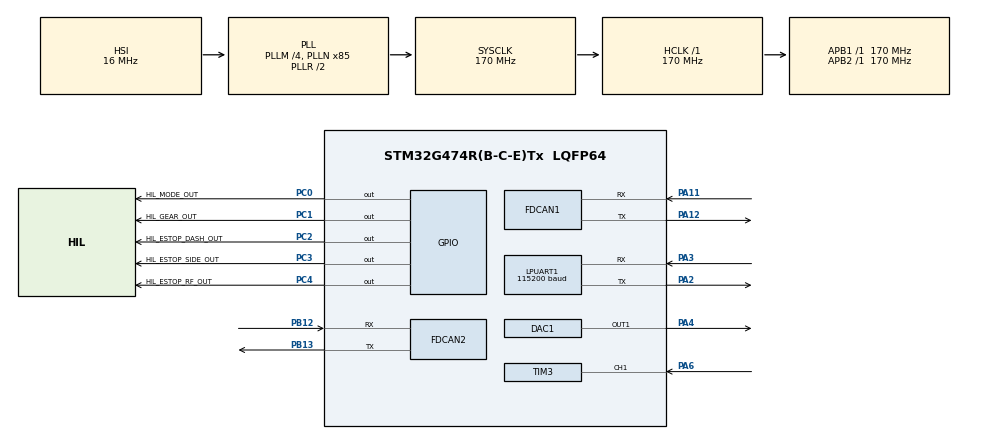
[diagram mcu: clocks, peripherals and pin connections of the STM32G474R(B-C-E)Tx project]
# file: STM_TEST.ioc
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Dma.LPUART1_RX.0.Direction=DMA_PERIPH_TO_MEMORY
Dma.LPUART1_RX.0.EventEnable=DISABLE
Dma.LPUART1_RX.0.Instance=DMA1_Channel1
Dma.LPUART1_RX.0.MemDataAlignment=DMA_MDATAALIGN_BYTE
Dma.LPUART1_RX.0.MemInc=DMA_MINC_ENABLE
Dma.LPUART1_RX.0.Mode=DMA_NORMAL
Dma.LPUART1_RX.0.PeriphDataAlignment=DMA_PDATAALIGN_BYTE
Dma.LPUART1_RX.0.PeriphInc=DMA_PINC_DISABLE
Dma.LPUART1_RX.0.Polarity=HAL_DMAMUX_REQ_GEN_RISING
Dma.LPUART1_RX.0.Priority=DMA_PRIORITY_MEDIUM
Dma.LPUART1_RX.0.RequestNumber=1
Dma.LPUART1_RX.0.SignalID=NONE
Dma.LPUART1_RX.0.SyncEnable=DISABLE
Dma.LPUART1_RX.0.SyncPolarity=HAL_DMAMUX_SYNC_NO_EVENT
Dma.LPUART1_RX.0.SyncRequestNumber=1
Dma.LPUART1_RX.0.SyncSignalID=NONE
Dma.Request0=LPUART1_RX
FDCAN1.AutoRetransmission=ENABLE
FDCAN1.CalculateBaudRateNominal=250000
FDCAN1.CalculateTimeBitNominal=4000
FDCAN1.CalculateTimeQuantumNominal=100.0
FDCAN1.ExtFiltersNbr=4
FDCAN1.NominalPrescaler=17
FDCAN1.NominalSyncJumpWidth=5
FDCAN1.NominalTimeSeg1=34
FDCAN1.NominalTimeSeg2=5
FDCAN2.AutoRetransmission=ENABLE
FDCAN2.CalculateBaudRateNominal=250000
FDCAN2.CalculateTimeBitNominal=4000
FDCAN2.CalculateTimeQuantumNominal=100.0
FDCAN2.DataSyncJumpWidth=5
FDCAN2.ExtFiltersNbr=4
FDCAN2.NominalPrescaler=17
FDCAN2.NominalSyncJumpWidth=5
FDCAN2.NominalTimeSeg1=34
FDCAN2.NominalTimeSeg2=5
FREERTOS.Mutexes01=HilStateMutex,Dynamic,NULL,Available
FREERTOS.Tasks01=HostCommand,24,512,StartHostCommand,Default,NULL,Dynamic,NULL,NULL;VehicleIO,24,256,StartVehicleIO,Default,NULL,Dynamic,NULL,NULL;EZKontrol,32,512,StartEZKontrol,Default,NULL,Dynamic,NULL,NULL;KEYA,32,512,StartKEYA,Default,NULL,Dynamic,NULL,NULL;Monitor,16,256,StartMonitor,Default,NULL,Dynamic,NULL,NULL
FREERTOS.configENABLE_FPU=1
FREERTOS.configTOTAL_HEAP_SIZE=16384
LPUART1.BaudRate=115200
Mcu.Family=STM32G4
Mcu.Name=STM32G474R(B-C-E)Tx
Mcu.Package=LQFP64
NUCLEO-G474RE.VCP=false
NVIC.DMA1_Channel1_IRQn=true\:7\:0\:true\:false\:true\:true\:false\:true\:true
NVIC.FDCAN1_IT0_IRQn=true\:6\:0\:true\:false\:true\:true\:true\:true\:true
NVIC.FDCAN2_IT0_IRQn=true\:6\:0\:true\:false\:true\:true\:true\:true\:true
NVIC.LPUART1_IRQn=true\:7\:0\:true\:false\:true\:true\:true\:true\:true
NVIC.PriorityGroup=NVIC_PRIORITYGROUP_4
NVIC.TIM3_IRQn=true\:7\:0\:true\:false\:true\:true\:true\:true\:true
NVIC.TIM6_DAC_IRQn=true\:15\:0\:false\:false\:true\:false\:false\:true\:true
NVIC.TimeBase=TIM6_DAC_IRQn
NVIC.TimeBaseIP=TIM6
PA11.Mode=FDCAN_Activate
PA11.Signal=FDCAN1_RX
PA12.Mode=FDCAN_Activate
PA12.Signal=FDCAN1_TX
PA13.GPIO_Label=T_SWDIO
PA13.Mode=Serial_Wire
PA13.Signal=SYS_JTMS-SWDIO
PA14.GPIO_Label=T_SWCLK
PA14.Mode=Serial_Wire
PA14.Signal=SYS_JTCK-SWCLK
PA2.Mode=Asynchronous
PA2.Signal=LPUART1_TX
PA3.Mode=Asynchronous
PA3.Signal=LPUART1_RX
PA4.Signal=COMP_DAC11_group
PA6.Signal=S_TIM3_CH1
PB12.Mode=FDCAN_Activate
PB12.Signal=FDCAN2_RX
PB13.Mode=FDCAN_Activate
PB13.Signal=FDCAN2_TX
PB3.GPIO_Label=T_SWO
PB3.Signal=SYS_JTDO-SWO
PC0.GPIO_Label=HIL_MODE_OUT
PC0.PinState=GPIO_PIN_SET
PC0.Signal=GPIO_Output
PC1.GPIO_Label=HIL_GEAR_OUT
PC1.PinState=GPIO_PIN_SET
PC1.Signal=GPIO_Output
PC14-OSC32_IN.GPIO_Label=RCC_OSC32_IN
PC14-OSC32_IN.Signal=RCC_OSC32_IN
PC15-OSC32_OUT.GPIO_Label=RCC_OSC32_OUT
PC15-OSC32_OUT.Signal=RCC_OSC32_OUT
PC2.GPIO_Label=HIL_ESTOP_DASH_OUT
PC2.PinState=GPIO_PIN_SET
PC2.Signal=GPIO_Output
PC3.GPIO_Label=HIL_ESTOP_SIDE_OUT
PC3.PinState=GPIO_PIN_SET
PC3.Signal=GPIO_Output
PC4.GPIO_Label=HIL_ESTOP_RF_OUT
PC4.PinState=GPIO_PIN_SET
PC4.Signal=GPIO_Output
PF0-OSC_IN.GPIO_Label=RCC_OSC_IN
PF0-OSC_IN.Mode=HSE-External-Oscillator
PF0-OSC_IN.Signal=RCC_OSC_IN
PF1-OSC_OUT.GPIO_Label=RCC_OSC_OUT
PF1-OSC_OUT.Mode=HSE-External-Oscillator
PF1-OSC_OUT.Signal=RCC_OSC_OUT
ProjectManager.HeapSize=0x200
ProjectManager.StackSize=0x400
ProjectManager.TargetToolchain=CMake
RCC.ADC12Freq_Value=170000000
RCC.ADC345Freq_Value=170000000
RCC.AHBFreq_Value=170000000
RCC.APB1Freq_Value=170000000
RCC.APB1TimFreq_Value=170000000
RCC.APB2Freq_Value=170000000
RCC.APB2TimFreq_Value=170000000
RCC.CortexFreq_Value=170000000
RCC.EXTERNAL_CLOCK_VALUE=12288000
RCC.HCLKFreq_Value=170000000
RCC.HSE_VALUE=24000000
RCC.HSI48_VALUE=48000000
RCC.HSI_VALUE=16000000
RCC.LSE_VALUE=32768
RCC.PLLM=RCC_PLLM_DIV4
RCC.PLLN=85
RCC.RTCClockSelection=RCC_RTCCLKSOURCE_LSE
RCC.SYSCLKFreq_VALUE=170000000
RCC.SYSCLKSource=RCC_SYSCLKSOURCE_PLLCLK
RCC.USBFreq_Value=170000000
RCC.VCOOutputFreq_Value=340000000
SH.COMP_DAC11_group.0=DAC1_OUT1,DAC_OUT1
SH.S_TIM3_CH1.0=TIM3_CH1,PWM_Input_1
TIM3.Prescaler=169
VP_FREERTOS_VS_CMSIS_V2.Mode=CMSIS_V2
VP_NUCLEO-G474RE_VS_BSP_COMMON.Mode=COMMON
VP_SYS_VS_DBSignals.Mode=DisableDeadBatterySignals
VP_SYS_VS_tim6.Mode=TIM6
VP_TIM3_VS_ClockSourceINT.Mode=Internal
board=NUCLEO-G474RE

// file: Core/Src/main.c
/* USER CODE BEGIN Header */
/**
  ******************************************************************************
  * @file           : main.c
  * @brief          : Main program body
  ******************************************************************************
  * @attention
  *
  * Copyright (c) 2026 STMicroelectronics.
  * All rights reserved.
  *
  * This software is licensed under terms that can be found in the LICENSE file
  * in the root directory of this software component.
  * If no LICENSE file comes with this software, it is provided AS-IS.
  *
  ******************************************************************************
  */
/* USER CODE END Header */
#include "main.h"
#include "cmsis_os.h"

/* USER CODE BEGIN Includes */
#include "hil_command.h"
#include "hil_ezkontrol.h"
#include "hil_keya.h"
#include "hil_monitor.h"
#include "hil_state.h"
#include "hil_vehicle_io.h"
/* USER CODE END Includes */

DAC_HandleTypeDef hdac1;

FDCAN_HandleTypeDef hfdcan1;
FDCAN_HandleTypeDef hfdcan2;

UART_HandleTypeDef hlpuart1;
DMA_HandleTypeDef hdma_lpuart1_rx;

TIM_HandleTypeDef htim3;

/* Definitions for HostCommand */
osThreadId_t HostCommandHandle;
const osThreadAttr_t HostCommand_attributes = {
  .name = "HostCommand",
  .priority = (osPriority_t) osPriorityNormal,
  .stack_size = 512 * 4
};
/* Definitions for VehicleIO */
osThreadId_t VehicleIOHandle;
const osThreadAttr_t VehicleIO_attributes = {
  .name = "VehicleIO",
  .priority = (osPriority_t) osPriorityNormal,
  .stack_size = 256 * 4
};
/* Definitions for EZKontrol */
osThreadId_t EZKontrolHandle;
const osThreadAttr_t EZKontrol_attributes = {
  .name = "EZKontrol",
  .priority = (osPriority_t) osPriorityAboveNormal,
  .stack_size = 512 * 4
};
/* Definitions for KEYA */
osThreadId_t KEYAHandle;
const osThreadAttr_t KEYA_attributes = {
  .name = "KEYA",
  .priority = (osPriority_t) osPriorityAboveNormal,
  .stack_size = 512 * 4
};
/* Definitions for Monitor */
osThreadId_t MonitorHandle;
const osThreadAttr_t Monitor_attributes = {
  .name = "Monitor",
  .priority = (osPriority_t) osPriorityBelowNormal,
  .stack_size = 256 * 4
};
/* Definitions for HilStateMutex */
osMutexId_t HilStateMutexHandle;
const osMutexAttr_t HilStateMutex_attributes = {
  .name = "HilStateMutex"
};

void SystemClock_Config(void);
static void MX_GPIO_Init(void);
static void MX_DMA_Init(void);
static void MX_FDCAN1_Init(void);
static void MX_FDCAN2_Init(void);
static void MX_DAC1_Init(void);
static void MX_LPUART1_UART_Init(void);
static void MX_TIM3_Init(void);
void StartHostCommand(void *argument);
void StartVehicleIO(void *argument);
void StartEZKontrol(void *argument);
void StartKEYA(void *argument);
void StartMonitor(void *argument);

int main(void)
{

  /* MCU Configuration--------------------------------------------------------*/

  /* Reset of all peripherals, Initializes the Flash interface and the Systick. */
  HAL_Init();

  /* Configure the system clock */
  SystemClock_Config();

  /* Initialize all configured peripherals */
  MX_GPIO_Init();
  MX_DMA_Init();
  MX_FDCAN1_Init();
  MX_FDCAN2_Init();
  MX_DAC1_Init();
  MX_LPUART1_UART_Init();
  MX_TIM3_Init();

  /* Init scheduler */
  osKernelInitialize();
  /* Create the mutex(es) */
  /* creation of HilStateMutex */
  HilStateMutexHandle = osMutexNew(&HilStateMutex_attributes);

  /* USER CODE BEGIN RTOS_MUTEX */
  HilState_Init();
  HilVehicleIO_Init();
  HilMonitor_Init();
  HilEZKontrol_Init();
  HilKEYA_Init();
  HilCommand_Init();
  /* USER CODE END RTOS_MUTEX */

  /* Create the thread(s) */
  /* creation of HostCommand */
  HostCommandHandle = osThreadNew(StartHostCommand, NULL, &HostCommand_attributes);

  /* creation of VehicleIO */
  VehicleIOHandle = osThreadNew(StartVehicleIO, NULL, &VehicleIO_attributes);

  /* creation of EZKontrol */
  EZKontrolHandle = osThreadNew(StartEZKontrol, NULL, &EZKontrol_attributes);

  /* creation of KEYA */
  KEYAHandle = osThreadNew(StartKEYA, NULL, &KEYA_attributes);

  /* creation of Monitor */
  MonitorHandle = osThreadNew(StartMonitor, NULL, &Monitor_attributes);

  /* Start scheduler */
  osKernelStart();

  /* We should never get here as control is now taken by the scheduler */

  /* Infinite loop */
  while (1)
  {

  }
}

void SystemClock_Config(void)
{
  RCC_OscInitTypeDef RCC_OscInitStruct = {0};
  RCC_ClkInitTypeDef RCC_ClkInitStruct = {0};

  /** Configure the main internal regulator output voltage
  */
  HAL_PWREx_ControlVoltageScaling(PWR_REGULATOR_VOLTAGE_SCALE1_BOOST);

  /** Initializes the RCC Oscillators according to the specified parameters
  * in the RCC_OscInitTypeDef structure.
  */
  RCC_OscInitStruct.OscillatorType = RCC_OSCILLATORTYPE_HSI;
  RCC_OscInitStruct.HSIState = RCC_HSI_ON;
  RCC_OscInitStruct.HSICalibrationValue = RCC_HSICALIBRATION_DEFAULT;
  RCC_OscInitStruct.PLL.PLLState = RCC_PLL_ON;
  RCC_OscInitStruct.PLL.PLLSource = RCC_PLLSOURCE_HSI;
  RCC_OscInitStruct.PLL.PLLM = RCC_PLLM_DIV4;
  RCC_OscInitStruct.PLL.PLLN = 85;
  RCC_OscInitStruct.PLL.PLLP = RCC_PLLP_DIV2;
  RCC_OscInitStruct.PLL.PLLQ = RCC_PLLQ_DIV2;
  RCC_OscInitStruct.PLL.PLLR = RCC_PLLR_DIV2;
  if (HAL_RCC_OscConfig(&RCC_OscInitStruct) != HAL_OK)
  {
    Error_Handler();
  }

  /** Initializes the CPU, AHB and APB buses clocks
  */
  RCC_ClkInitStruct.ClockType = RCC_CLOCKTYPE_HCLK|RCC_CLOCKTYPE_SYSCLK
                              |RCC_CLOCKTYPE_PCLK1|RCC_CLOCKTYPE_PCLK2;
  RCC_ClkInitStruct.SYSCLKSource = RCC_SYSCLKSOURCE_PLLCLK;
  RCC_ClkInitStruct.AHBCLKDivider = RCC_SYSCLK_DIV1;
  RCC_ClkInitStruct.APB1CLKDivider = RCC_HCLK_DIV1;
  RCC_ClkInitStruct.APB2CLKDivider = RCC_HCLK_DIV1;

  if (HAL_RCC_ClockConfig(&RCC_ClkInitStruct, FLASH_LATENCY_4) != HAL_OK)
  {
    Error_Handler();
  }
}

static void MX_DAC1_Init(void)
{

  DAC_ChannelConfTypeDef sConfig = {0};

  /** DAC Initialization
  */
  hdac1.Instance = DAC1;
  if (HAL_DAC_Init(&hdac1) != HAL_OK)
  {
    Error_Handler();
  }

  /** DAC channel OUT1 config
  */
  sConfig.DAC_HighFrequency = DAC_HIGH_FREQUENCY_INTERFACE_MODE_AUTOMATIC;
  sConfig.DAC_DMADoubleDataMode = DISABLE;
  sConfig.DAC_SignedFormat = DISABLE;
  sConfig.DAC_SampleAndHold = DAC_SAMPLEANDHOLD_DISABLE;
  sConfig.DAC_Trigger = DAC_TRIGGER_NONE;
  sConfig.DAC_Trigger2 = DAC_TRIGGER_NONE;
  sConfig.DAC_OutputBuffer = DAC_OUTPUTBUFFER_ENABLE;
  sConfig.DAC_ConnectOnChipPeripheral = DAC_CHIPCONNECT_EXTERNAL;
  sConfig.DAC_UserTrimming = DAC_TRIMMING_FACTORY;
  if (HAL_DAC_ConfigChannel(&hdac1, &sConfig, DAC_CHANNEL_1) != HAL_OK)
  {
    Error_Handler();
  }

}

static void MX_FDCAN1_Init(void)
{

  hfdcan1.Instance = FDCAN1;
  hfdcan1.Init.ClockDivider = FDCAN_CLOCK_DIV1;
  hfdcan1.Init.FrameFormat = FDCAN_FRAME_CLASSIC;
  hfdcan1.Init.Mode = FDCAN_MODE_NORMAL;
  hfdcan1.Init.AutoRetransmission = ENABLE;
  hfdcan1.Init.TransmitPause = DISABLE;
  hfdcan1.Init.ProtocolException = DISABLE;
  hfdcan1.Init.NominalPrescaler = 17;
  hfdcan1.Init.NominalSyncJumpWidth = 5;
  hfdcan1.Init.NominalTimeSeg1 = 34;
  hfdcan1.Init.NominalTimeSeg2 = 5;
  hfdcan1.Init.DataPrescaler = 1;
  hfdcan1.Init.DataSyncJumpWidth = 1;
  hfdcan1.Init.DataTimeSeg1 = 1;
  hfdcan1.Init.DataTimeSeg2 = 1;
  hfdcan1.Init.StdFiltersNbr = 0;
  hfdcan1.Init.ExtFiltersNbr = 4;
  hfdcan1.Init.TxFifoQueueMode = FDCAN_TX_FIFO_OPERATION;
  if (HAL_FDCAN_Init(&hfdcan1) != HAL_OK)
  {
    Error_Handler();
  }

}

static void MX_FDCAN2_Init(void)
{

  hfdcan2.Instance = FDCAN2;
  hfdcan2.Init.ClockDivider = FDCAN_CLOCK_DIV1;
  hfdcan2.Init.FrameFormat = FDCAN_FRAME_CLASSIC;
  hfdcan2.Init.Mode = FDCAN_MODE_NORMAL;
  hfdcan2.Init.AutoRetransmission = ENABLE;
  hfdcan2.Init.TransmitPause = DISABLE;
  hfdcan2.Init.ProtocolException = DISABLE;
  hfdcan2.Init.NominalPrescaler = 17;
  hfdcan2.Init.NominalSyncJumpWidth = 5;
  hfdcan2.Init.NominalTimeSeg1 = 34;
  hfdcan2.Init.NominalTimeSeg2 = 5;
  hfdcan2.Init.DataPrescaler = 1;
  hfdcan2.Init.DataSyncJumpWidth = 5;
  hfdcan2.Init.DataTimeSeg1 = 1;
  hfdcan2.Init.DataTimeSeg2 = 1;
  hfdcan2.Init.StdFiltersNbr = 0;
  hfdcan2.Init.ExtFiltersNbr = 4;
  hfdcan2.Init.TxFifoQueueMode = FDCAN_TX_FIFO_OPERATION;
  if (HAL_FDCAN_Init(&hfdcan2) != HAL_OK)
  {
    Error_Handler();
  }

}

static void MX_LPUART1_UART_Init(void)
{

  hlpuart1.Instance = LPUART1;
  hlpuart1.Init.BaudRate = 115200;
  hlpuart1.Init.WordLength = UART_WORDLENGTH_8B;
  hlpuart1.Init.StopBits = UART_STOPBITS_1;
  hlpuart1.Init.Parity = UART_PARITY_NONE;
  hlpuart1.Init.Mode = UART_MODE_TX_RX;
  hlpuart1.Init.HwFlowCtl = UART_HWCONTROL_NONE;
  hlpuart1.Init.OneBitSampling = UART_ONE_BIT_SAMPLE_DISABLE;
  hlpuart1.Init.ClockPrescaler = UART_PRESCALER_DIV1;
  hlpuart1.AdvancedInit.AdvFeatureInit = UART_ADVFEATURE_NO_INIT;
  if (HAL_UART_Init(&hlpuart1) != HAL_OK)
  {
    Error_Handler();
  }
  if (HAL_UARTEx_SetTxFifoThreshold(&hlpuart1, UART_TXFIFO_THRESHOLD_1_8) != HAL_OK)
  {
    Error_Handler();
  }
  if (HAL_UARTEx_SetRxFifoThreshold(&hlpuart1, UART_RXFIFO_THRESHOLD_1_8) != HAL_OK)
  {
    Error_Handler();
  }
  if (HAL_UARTEx_DisableFifoMode(&hlpuart1) != HAL_OK)
  {
    Error_Handler();
  }

}

static void MX_TIM3_Init(void)
{

  TIM_ClockConfigTypeDef sClockSourceConfig = {0};
  TIM_SlaveConfigTypeDef sSlaveConfig = {0};
  TIM_IC_InitTypeDef sConfigIC = {0};
  TIM_MasterConfigTypeDef sMasterConfig = {0};

  htim3.Instance = TIM3;
  htim3.Init.Prescaler = 169;
  htim3.Init.CounterMode = TIM_COUNTERMODE_UP;
  htim3.Init.Period = 65535;
  htim3.Init.ClockDivision = TIM_CLOCKDIVISION_DIV1;
  htim3.Init.AutoReloadPreload = TIM_AUTORELOAD_PRELOAD_DISABLE;
  if (HAL_TIM_Base_Init(&htim3) != HAL_OK)
  {
    Error_Handler();
  }
  sClockSourceConfig.ClockSource = TIM_CLOCKSOURCE_INTERNAL;
  if (HAL_TIM_ConfigClockSource(&htim3, &sClockSourceConfig) != HAL_OK)
  {
    Error_Handler();
  }
  if (HAL_TIM_IC_Init(&htim3) != HAL_OK)
  {
    Error_Handler();
  }
  sSlaveConfig.SlaveMode = TIM_SLAVEMODE_RESET;
  sSlaveConfig.InputTrigger = TIM_TS_TI1FP1;
  sSlaveConfig.TriggerPolarity = TIM_INPUTCHANNELPOLARITY_RISING;
  sSlaveConfig.TriggerPrescaler = TIM_ICPSC_DIV1;
  sSlaveConfig.TriggerFilter = 0;
  if (HAL_TIM_SlaveConfigSynchro(&htim3, &sSlaveConfig) != HAL_OK)
  {
    Error_Handler();
  }
  sConfigIC.ICPolarity = TIM_INPUTCHANNELPOLARITY_RISING;
  sConfigIC.ICSelection = TIM_ICSELECTION_DIRECTTI;
  sConfigIC.ICPrescaler = TIM_ICPSC_DIV1;
  sConfigIC.ICFilter = 0;
  if (HAL_TIM_IC_ConfigChannel(&htim3, &sConfigIC, TIM_CHANNEL_1) != HAL_OK)
  {
    Error_Handler();
  }
  sConfigIC.ICPolarity = TIM_INPUTCHANNELPOLARITY_FALLING;
  sConfigIC.ICSelection = TIM_ICSELECTION_INDIRECTTI;
  if (HAL_TIM_IC_ConfigChannel(&htim3, &sConfigIC, TIM_CHANNEL_2) != HAL_OK)
  {
    Error_Handler();
  }
  sMasterConfig.MasterOutputTrigger = TIM_TRGO_RESET;
  sMasterConfig.MasterSlaveMode = TIM_MASTERSLAVEMODE_DISABLE;
  if (HAL_TIMEx_MasterConfigSynchronization(&htim3, &sMasterConfig) != HAL_OK)
  {
    Error_Handler();
  }

}

static void MX_DMA_Init(void)
{

  /* DMA controller clock enable */
  __HAL_RCC_DMAMUX1_CLK_ENABLE();
  __HAL_RCC_DMA1_CLK_ENABLE();

  /* DMA interrupt init */
  /* DMA1_Channel1_IRQn interrupt configuration */
  HAL_NVIC_SetPriority(DMA1_Channel1_IRQn, 7, 0);
  HAL_NVIC_EnableIRQ(DMA1_Channel1_IRQn);

}

static void MX_GPIO_Init(void)
{
  GPIO_InitTypeDef GPIO_InitStruct = {0};

  /* GPIO Ports Clock Enable */
  __HAL_RCC_GPIOC_CLK_ENABLE();
  __HAL_RCC_GPIOF_CLK_ENABLE();
  __HAL_RCC_GPIOA_CLK_ENABLE();
  __HAL_RCC_GPIOB_CLK_ENABLE();

  /*Configure GPIO pin Output Level */
  HAL_GPIO_WritePin(GPIOC, HIL_MODE_OUT_Pin|HIL_GEAR_OUT_Pin|HIL_ESTOP_DASH_OUT_Pin|HIL_ESTOP_SIDE_OUT_Pin
                          |HIL_ESTOP_RF_OUT_Pin, GPIO_PIN_SET);

  /*Configure GPIO pins : HIL_MODE_OUT_Pin HIL_GEAR_OUT_Pin HIL_ESTOP_DASH_OUT_Pin HIL_ESTOP_SIDE_OUT_Pin
                           HIL_ESTOP_RF_OUT_Pin */
  GPIO_InitStruct.Pin = HIL_MODE_OUT_Pin|HIL_GEAR_OUT_Pin|HIL_ESTOP_DASH_OUT_Pin|HIL_ESTOP_SIDE_OUT_Pin
                          |HIL_ESTOP_RF_OUT_Pin;
  GPIO_InitStruct.Mode = GPIO_MODE_OUTPUT_PP;
  GPIO_InitStruct.Pull = GPIO_NOPULL;
  GPIO_InitStruct.Speed = GPIO_SPEED_FREQ_LOW;
  HAL_GPIO_Init(GPIOC, &GPIO_InitStruct);

}

void StartHostCommand(void *argument)
{
  /* USER CODE BEGIN 5 */
  (void)argument;
  HilCommand_Task();
  /* USER CODE END 5 */
}

void StartVehicleIO(void *argument)
{
  /* USER CODE BEGIN StartVehicleIO */
  (void)argument;
  HilVehicleIO_Task();
  /* USER CODE END StartVehicleIO */
}

void StartEZKontrol(void *argument)
{
  /* USER CODE BEGIN StartEZKontrol */
  (void)argument;
  HilEZKontrol_Task();
  /* USER CODE END StartEZKontrol */
}

void StartKEYA(void *argument)
{
  /* USER CODE BEGIN StartKEYA */
  (void)argument;
  HilKEYA_Task();
  /* USER CODE END StartKEYA */
}

void StartMonitor(void *argument)
{
  /* USER CODE BEGIN StartMonitor */
  (void)argument;
  HilMonitor_Task();
  /* USER CODE END StartMonitor */
}

void HAL_TIM_PeriodElapsedCallback(TIM_HandleTypeDef *htim)
{
  if (htim->Instance == TIM6)
  {
    HAL_IncTick();
  }
}

void Error_Handler(void)
{
  __disable_irq();
  while (1)
  {
  }
}

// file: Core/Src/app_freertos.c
/* USER CODE BEGIN Header */
/**
  ******************************************************************************
  * File Name          : app_freertos.c
  * Description        : Code for freertos applications
  ******************************************************************************
  * @attention
  *
  * Copyright (c) 2026 STMicroelectronics.
  * All rights reserved.
  *
  * This software is licensed under terms that can be found in the LICENSE file
  * in the root directory of this software component.
  * If no LICENSE file comes with this software, it is provided AS-IS.
  *
  ******************************************************************************
  */
/* USER CODE END Header */

#include "FreeRTOS.h"
#include "task.h"
#include "main.h"

/* USER CODE BEGIN Includes */
#include "hil_command.h"
#include "hil_ezkontrol.h"
#include "hil_keya.h"
#include "hil_monitor.h"
/* USER CODE END Includes */

/* USER CODE BEGIN Application */

void HAL_UARTEx_RxEventCallback(UART_HandleTypeDef *huart, uint16_t Size)
{
  if (huart->Instance == LPUART1) HilCommand_RxEventFromISR(Size);
}

void HAL_UART_ErrorCallback(UART_HandleTypeDef *huart)
{
  if (huart->Instance == LPUART1) HilCommand_UartErrorFromISR();
}

void HAL_FDCAN_RxFifo0Callback(FDCAN_HandleTypeDef *hfdcan,
                               uint32_t RxFifo0ITs)
{
  (void)RxFifo0ITs;
  if (hfdcan->Instance == FDCAN1) HilEZKontrol_RxCallbackFromISR(hfdcan);
  else if (hfdcan->Instance == FDCAN2) HilKEYA_RxCallbackFromISR(hfdcan);
}

void HAL_TIM_IC_CaptureCallback(TIM_HandleTypeDef *htim)
{
  HilMonitor_TIMCaptureFromISR(htim);
}

/* USER CODE END Application */
